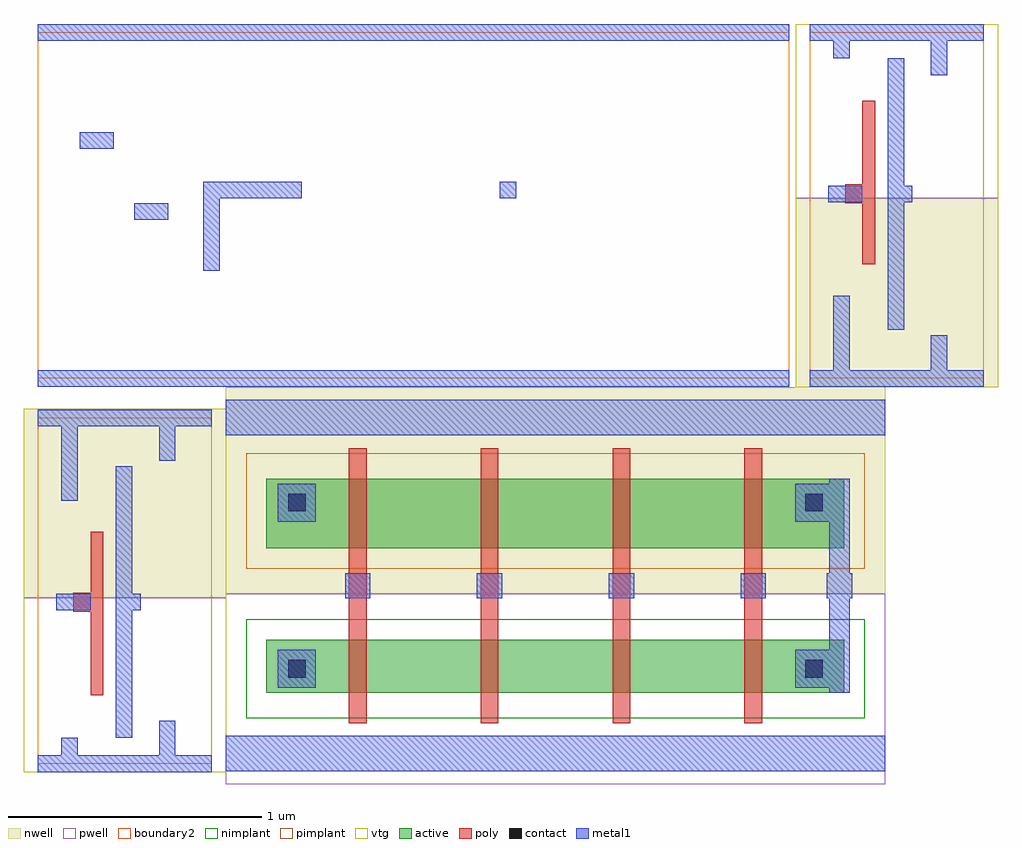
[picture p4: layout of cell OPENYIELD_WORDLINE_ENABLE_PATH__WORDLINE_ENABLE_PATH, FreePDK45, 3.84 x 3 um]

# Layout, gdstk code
import gdstk
lib = gdstk.Library(unit=1e-6, precision=5e-10)
def R(c, l, rs):  # rectangles x0, y0, x1, y1
    for r in rs: c.add(gdstk.rectangle(r[:2], r[2:], *l))
def A(c, l, x, y, w, h, nx, ny, dx, dy):  # array of equal rectangles
    R(c, l, [(x+i*dx, y+j*dy, x+i*dx+w, y+j*dy+h) for i in range(nx) for j in range(ny)])
active = (1, 0)
pwell = (2, 0)
nwell = (3, 0)
nimplant = (4, 0)
pimplant = (5, 0)
vtg = (6, 0)
poly = (9, 0)
contact = (10, 0)
metal1 = (11, 0)
boundary2 = (239, 0)

openyield_wordline_enabl = lib.new_cell('OPENYIELD_WORDLINE_ENABLE_PATH__gen_inv')
R(openyield_wordline_enabl, pwell, [(-0.055,-0.033,0.743,0.655)])
R(openyield_wordline_enabl, nwell, [(-0.055,0.655,0.743,1.4)])
R(openyield_wordline_enabl, vtg, [(-0.055,-0.033,0.743,0.655), (-0.055,0.655,0.743,1.4)])
R(openyield_wordline_enabl, poly, [(0.208,0.27,0.258,0.915), (0.14,0.6,0.208,0.675)])
R(openyield_wordline_enabl, metal1, [(0,-0.033,0.687,0.033), (0.092,-0.033,0.157,0.103), (0.478,0,0.542,0.17), (0.307,0.103,0.372,1.173), (0.072,0.605,0.208,0.67), (0.34,0.605,0.405,0.67), (0.092,1.038,0.157,1.397), (0.478,1.195,0.542,1.365), (0,1.332,0.687,1.397)])
R(openyield_wordline_enabl, boundary2, [(0,0,0.687,1.365), (0,0,0.687,1.365)])
openyield_wordline_enabl.add(gdstk.Label('A', (0.14,0.638), layer=11, texttype=0))
openyield_wordline_enabl.add(gdstk.Label('Z', (0.372,0.638), layer=11, texttype=0))
openyield_wordline_enabl.add(gdstk.Label('gnd', (0.345,0), layer=11, texttype=0))
openyield_wordline_enabl.add(gdstk.Label('vdd', (0.345,1.365), layer=11, texttype=0))

c_openyield_wordline_enabl = lib.new_cell('OPENYIELD_WORDLINE_ENABLE_PATH__gen_nand4')
R(c_openyield_wordline_enabl, active, [(0.16,0.36,2.44,0.57), (0.16,0.93,2.44,1.205)])
R(c_openyield_wordline_enabl, pwell, [(0,0,2.6,0.75)])
R(c_openyield_wordline_enabl, nwell, [(0,0.75,2.6,1.565)])
R(c_openyield_wordline_enabl, nimplant, [(0.08,0.26,2.52,0.65)])
R(c_openyield_wordline_enabl, pimplant, [(0.08,0.85,2.52,1.305)])
A(c_openyield_wordline_enabl, poly, 0.485, 0.24, 0.07, 1.085, 4, 1, 0.52, 0)
R(c_openyield_wordline_enabl, contact, [(0.245,0.42,0.315,0.49), (2.285,0.42,2.355,0.49), (0.245,1.075,0.315,1.145), (2.285,1.075,2.355,1.145)])
A(c_openyield_wordline_enabl, metal1, 0.47, 0.733, 0.1, 0.099, 4, 1, 0.52, 0)
R(c_openyield_wordline_enabl, metal1, [(0,0.05,2.6,0.19), (1.25,0.07,1.35,0.17), (2.38,0.36,2.46,1.205), (0.205,0.38,0.355,0.53), (2.245,0.38,2.395,0.53), (2.37,0.733,2.47,0.832), (0.205,1.035,0.355,1.185), (2.245,1.035,2.395,1.185), (0,1.375,2.6,1.515), (1.25,1.395,1.35,1.495)])

c_openyield_wordline_enabl_ = lib.new_cell('OPENYIELD_WORDLINE_ENABLE_PATH__gen_wl_driver')
R(c_openyield_wordline_enabl_, metal1, [(0,-0.033,2.965,0.033), (0.165,0.395,0.3,0.46), (0.652,0.59,0.718,0.655), (0.685,0.59,1.042,0.655), (1.822,0.59,1.887,0.655), (0.652,0.623,0.718,0.94), (0.38,0.675,0.515,0.74), (0,1.332,2.965,1.397)])
R(c_openyield_wordline_enabl_, boundary2, [(0,0,2.965,1.365)])
c_openyield_wordline_enabl_.add(gdstk.Label('Z', (1.855,0.623), layer=11, texttype=0))
c_openyield_wordline_enabl_.add(gdstk.Label('A', (0.232,0.427), layer=11, texttype=0))
c_openyield_wordline_enabl_.add(gdstk.Label('B', (0.447,0.707), layer=11, texttype=0))
c_openyield_wordline_enabl_.add(gdstk.Label('gnd', (1.482,0), layer=11, texttype=0))
c_openyield_wordline_enabl_.add(gdstk.Label('vdd', (1.482,1.365), layer=11, texttype=0))

c_openyield_wordline_enabl__ = lib.new_cell('OPENYIELD_WORDLINE_ENABLE_PATH__WORDLINE_ENABLE_PATH')
c_openyield_wordline_enabl__.add(gdstk.Reference(openyield_wordline_enabl, (0.08,0.08)))
c_openyield_wordline_enabl__.add(gdstk.Reference(c_openyield_wordline_enabl, (0.822,0)))
c_openyield_wordline_enabl__.add(gdstk.Reference(c_openyield_wordline_enabl_, (0.08,2.965), x_reflection=True))
c_openyield_wordline_enabl__.add(gdstk.Reference(openyield_wordline_enabl, (3.125,2.965), x_reflection=True))

lib.write_gds('OPENYIELD_WORDLINE_ENABLE_PATH__WORDLINE_ENABLE_PATH.gds')
